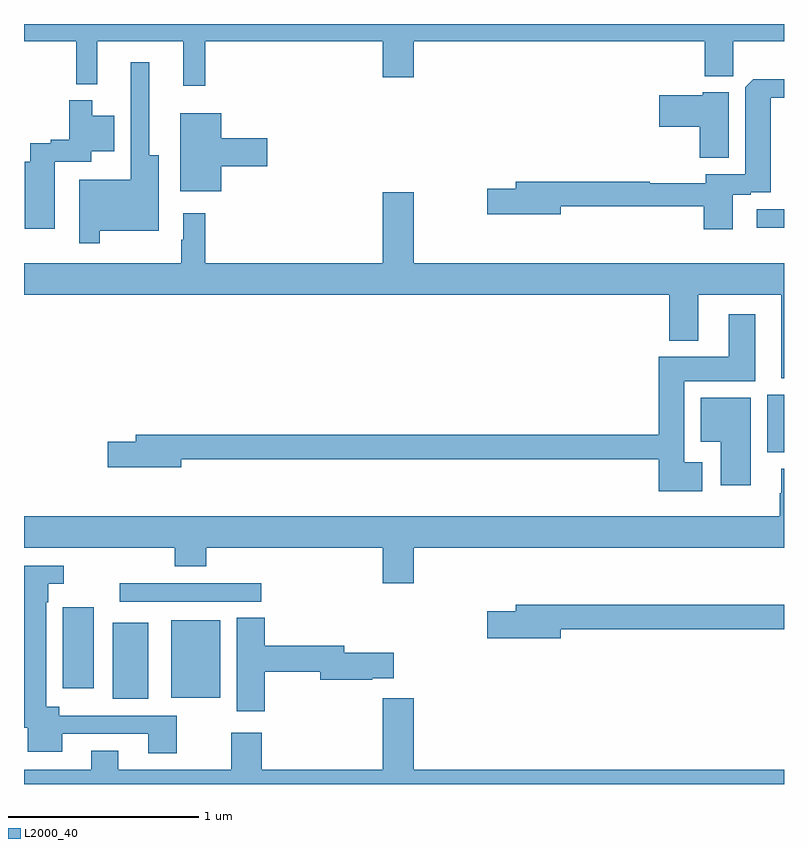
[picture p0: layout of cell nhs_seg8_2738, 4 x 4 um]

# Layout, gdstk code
import gdstk
lib = gdstk.Library(unit=1e-6, precision=1e-09)
def R(c, l, rs):  # rectangles x0, y0, x1, y1
    for r in rs: c.add(gdstk.rectangle(r[:2], r[2:], *l))
def P(c, l, *ps):  # polygons
    for p in ps: c.add(gdstk.Polygon(p, *l))
L2000_40 = (2000, 40)

nhs_seg8_2738 = lib.new_cell('nhs_seg8_2738')
R(nhs_seg8_2738, L2000_40, [(283.466,1138.349,283.654,1138.75), (283.775,1138.355,284.032,1138.762), (283.205,1138.404,283.366,1138.831), (283.503,1138.86,284.248,1138.956), (286.913,1139.645,287,1139.95), (286.857,1140.828,287,1140.924)])
P(nhs_seg8_2738, L2000_40, [(283.955,1141.808),(284.888,1141.808),(284.888,1141.62),(285.052,1141.62),(285.052,1141.808),(286.583,1141.808),(286.583,1141.626),(286.733,1141.626),(286.733,1141.808),(287,1141.808),(287,1141.9),(283,1141.9),(283,1141.808),(283.275,1141.808),(283.275,1141.583),(283.385,1141.583),(283.385,1141.808),(283.838,1141.808),(283.838,1141.575),(283.955,1141.575)],
  [(283.399,1140.812),(283.708,1140.812),(283.708,1141.21),(283.66,1141.21),(283.66,1141.699),(283.563,1141.699),(283.563,1141.081),(283.29,1141.081),(283.29,1140.747),(283.399,1140.747)],
  [(286.729,1141.002),(286.826,1141.002),(286.826,1141.014),(286.93,1141.014),(286.93,1141.512),(287,1141.512),(287,1141.61),(286.838,1141.61),(286.796,1141.568),(286.796,1141.11),(286.589,1141.11),(286.589,1141.063),(286.293,1141.063),(286.293,1141.07),(285.587,1141.07),(285.587,1141.034),(285.438,1141.034),(285.438,1140.899),(285.826,1140.899),(285.826,1140.942),(286.577,1140.942),(286.577,1140.819),(286.729,1140.819)],
  [(286.708,1141.54),(286.572,1141.54),(286.572,1141.525),(286.344,1141.525),(286.344,1141.36),(286.556,1141.36),(286.556,1141.195),(286.708,1141.195)],
  [(283.162,1141.176),(283.354,1141.176),(283.354,1141.229),(283.474,1141.229),(283.474,1141.417),(283.36,1141.417),(283.36,1141.498),(283.238,1141.498),(283.238,1141.292),(283.14,1141.292),(283.14,1141.272),(283.034,1141.272),(283.034,1141.174),(283.004,1141.174),(283.004,1140.822),(283.162,1140.822)],
  [(284.038,1141.151),(284.281,1141.151),(284.281,1141.298),(284.038,1141.298),(284.038,1141.429),(283.823,1141.429),(283.823,1141.019),(284.038,1141.019)],
  [(287,1140.64),(285.052,1140.64),(285.052,1141.015),(284.888,1141.015),(284.888,1140.64),(283.955,1140.64),(283.955,1140.904),(283.838,1140.904),(283.838,1140.764),(283.827,1140.764),(283.827,1140.64),(283,1140.64),(283,1140.476),(286.397,1140.476),(286.397,1140.233),(286.549,1140.233),(286.549,1140.476),(286.985,1140.476),(286.985,1140.035),(287,1140.035)],
  [(286.57,1139.593),(286.474,1139.593),(286.474,1140.02),(286.849,1140.02),(286.849,1140.373),(286.709,1140.373),(286.709,1140.148),(286.34,1140.148),(286.34,1139.738),(283.589,1139.738),(283.589,1139.702),(283.44,1139.702),(283.44,1139.567),(283.828,1139.567),(283.828,1139.61),(286.34,1139.61),(286.34,1139.441),(286.57,1139.441)],
  [(286.825,1139.932),(286.562,1139.932),(286.562,1139.702),(286.667,1139.702),(286.667,1139.472),(286.825,1139.472)],
  [(285.052,1139.144),(287,1139.144),(287,1139.56),(286.985,1139.56),(286.985,1139.429),(286.978,1139.429),(286.978,1139.308),(283,1139.308),(283,1139.144),(283.793,1139.144),(283.793,1139.045),(283.958,1139.045),(283.958,1139.144),(284.888,1139.144),(284.888,1138.956),(285.052,1138.956)],
  [(283.803,1138.26),(283.186,1138.26),(283.186,1138.306),(283.116,1138.306),(283.116,1138.856),(283.128,1138.856),(283.128,1138.953),(283.21,1138.953),(283.21,1139.049),(283,1139.049),(283,1138.196),(283.019,1138.196),(283.019,1138.07),(283.201,1138.07),(283.201,1138.164),(283.655,1138.164),(283.655,1138.062),(283.803,1138.062)],
  [(285.826,1138.714),(287,1138.714),(287,1138.843),(285.587,1138.843),(285.587,1138.809),(285.438,1138.809),(285.438,1138.667),(285.826,1138.667)],
  [(284.267,1138.492),(284.558,1138.492),(284.558,1138.45),(284.834,1138.45),(284.834,1138.457),(284.947,1138.457),(284.947,1138.592),(284.686,1138.592),(284.686,1138.628),(284.267,1138.628),(284.267,1138.775),(284.12,1138.775),(284.12,1138.284),(284.267,1138.284)],
  [(287,1137.976),(285.052,1137.976),(285.052,1138.351),(284.888,1138.351),(284.888,1137.976),(284.252,1137.976),(284.252,1138.171),(284.092,1138.171),(284.092,1137.976),(283.495,1137.976),(283.495,1138.075),(283.355,1138.075),(283.355,1137.976),(283,1137.976),(283,1137.9),(287,1137.9)])

lib.write_gds('nhs_seg8_2738.gds')
